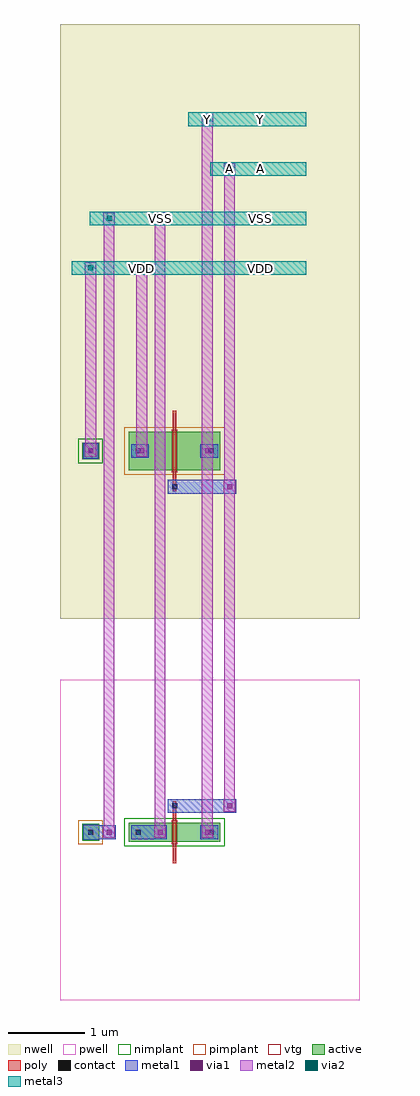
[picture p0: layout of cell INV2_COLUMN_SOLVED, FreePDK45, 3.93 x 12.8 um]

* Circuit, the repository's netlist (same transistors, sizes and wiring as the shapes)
.subckt INV2_COLUMN_SOLVED VDD VSS A Y
M0 Y A VDD VDD PMOS_VTG W=0.5U L=0.05U
M1 Y A VSS VSS NMOS_VTG W=0.25U L=0.05U
.ends INV2_COLUMN_SOLVED
.end

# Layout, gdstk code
import gdstk
lib = gdstk.Library(unit=1e-6, precision=5e-10)
def R(c, l, rs):  # rectangles x0, y0, x1, y1
    for r in rs: c.add(gdstk.rectangle(r[:2], r[2:], *l))
active = (1, 0)
pwell = (2, 0)
nwell = (3, 0)
nimplant = (4, 0)
pimplant = (5, 0)
vtg = (6, 0)
poly = (9, 0)
contact = (10, 0)
metal1 = (11, 0)
via1 = (12, 0)
metal2 = (13, 0)
via2 = (14, 0)
metal3 = (15, 0)

inv2_column_solved = lib.new_cell('INV2_COLUMN_SOLVED')
R(inv2_column_solved, active, [(0.6,1.875,1.8,2.125), (-0.01,1.89,0.21,2.11), (0.6,6.75,1.8,7.25), (-0.01,6.89,0.21,7.11)])
R(inv2_column_solved, pwell, [(-0.3,-0.2,3.63,4)])
R(inv2_column_solved, nwell, [(-0.3,4.8,3.63,12.6)])
R(inv2_column_solved, nimplant, [(0.54,1.815,1.86,2.185), (-0.06,6.84,0.26,7.16)])
R(inv2_column_solved, pimplant, [(-0.06,1.84,0.26,2.16), (0.54,6.69,1.86,7.31)])
R(inv2_column_solved, vtg, [(1.165,1.845,1.235,2.155), (1.165,6.72,1.235,7.28)])
R(inv2_column_solved, poly, [(1.175,1.595,1.225,2.405), (1.175,6.47,1.225,7.53)])
R(inv2_column_solved, contact, [(0.07,1.97,0.135,2.035), (0.69,1.97,0.755,2.035), (1.65,1.97,1.715,2.035), (1.17,2.315,1.235,2.38), (1.17,6.5,1.235,6.565), (0.07,6.97,0.135,7.035), (0.69,6.97,0.755,7.035), (1.65,6.97,1.715,7.035)])
R(inv2_column_solved, metal1, [(0,1.9,0.2,2.1), (0.1,1.91,0.34,2.09), (0.1,1.91,0.34,2.09), (0.25,1.91,0.43,2.09), (0.25,1.91,0.43,2.09), (0.63,1.91,0.81,2.09), (0.77,1.91,1.01,2.09), (0.92,1.91,1.1,2.09), (1.54,1.91,1.72,2.09), (1.59,1.91,1.77,2.09), (1.11,2.255,1.29,2.435), (1.2,2.255,1.92,2.435), (1.83,2.255,2.01,2.435), (1.11,6.44,1.29,6.62), (1.2,6.44,1.92,6.62), (1.83,6.44,2.01,6.62), (0,6.9,0.2,7.1), (0.01,6.91,0.19,7.09), (0.01,6.91,0.19,7.09), (0.63,6.91,0.81,7.09), (0.68,6.91,0.86,7.09), (1.54,6.91,1.72,7.09), (1.59,6.91,1.77,7.09)])
R(inv2_column_solved, via1, [(0.31,1.97,0.375,2.035), (0.31,1.97,0.375,2.035), (0.98,1.97,1.045,2.035), (1.6,1.97,1.665,2.035), (1.89,2.315,1.955,2.38), (1.89,6.5,1.955,6.565), (0.07,6.97,0.135,7.035), (0.07,6.97,0.135,7.035), (0.74,6.97,0.805,7.035), (1.6,6.97,1.665,7.035)])
R(inv2_column_solved, metal2, [(0.265,1.925,0.415,2.075), (0.265,1.925,0.415,2.075), (0.935,1.925,1.085,2.075), (1.555,1.925,1.705,2.075), (0.27,2,0.41,10.05), (0.27,2,0.41,10.05), (0.94,2,1.08,10.05), (1.56,2,1.7,11.35), (1.845,2.27,1.995,2.42), (1.85,2.345,1.99,10.7), (1.845,6.455,1.995,6.605), (1.85,6.53,1.99,10.7), (0.025,6.925,0.175,7.075), (0.025,6.925,0.175,7.075), (0.695,6.925,0.845,7.075), (1.555,6.925,1.705,7.075), (0.03,7,0.17,9.4), (0.03,7,0.17,9.4), (0.7,7,0.84,9.4), (1.56,7,1.7,11.35), (0.025,9.325,0.175,9.475), (0.025,9.325,0.175,9.475), (0.695,9.325,0.845,9.475), (0.265,9.975,0.415,10.125), (0.265,9.975,0.415,10.125), (0.935,9.975,1.085,10.125), (1.845,10.625,1.995,10.775), (1.845,10.625,1.995,10.775), (1.555,11.275,1.705,11.425), (1.555,11.275,1.705,11.425)])
R(inv2_column_solved, via2, [(0.07,9.37,0.135,9.435), (0.07,9.37,0.135,9.435), (0.74,9.37,0.805,9.435), (0.31,10.02,0.375,10.085), (0.31,10.02,0.375,10.085), (0.98,10.02,1.045,10.085), (1.89,10.67,1.955,10.735), (1.89,10.67,1.955,10.735), (1.6,11.32,1.665,11.385), (1.6,11.32,1.665,11.385)])
R(inv2_column_solved, metal3, [(-0.15,9.31,1.02,9.49), (1.02,9.31,2.93,9.49), (0.025,9.325,0.175,9.475), (0.025,9.325,0.175,9.475), (0.695,9.325,0.845,9.475), (0.09,9.96,1.26,10.14), (1.26,9.96,2.93,10.14), (0.265,9.975,0.415,10.125), (0.265,9.975,0.415,10.125), (0.935,9.975,1.085,10.125), (1.67,10.61,2.17,10.79), (2.17,10.61,2.93,10.79), (1.845,10.625,1.995,10.775), (1.845,10.625,1.995,10.775), (1.38,11.26,1.88,11.44), (1.88,11.26,2.93,11.44), (1.555,11.275,1.705,11.425), (1.555,11.275,1.705,11.425)])
inv2_column_solved.add(gdstk.Label('VDD', (2.33,9.4), layer=15, texttype=0))
inv2_column_solved.add(gdstk.Label('VDD', (2.33,9.4), layer=15, texttype=1))
inv2_column_solved.add(gdstk.Label('VDD', (2.33,9.4), layer=15, texttype=2))
inv2_column_solved.add(gdstk.Label('VDD', (0.77,9.4), layer=13, texttype=0))
inv2_column_solved.add(gdstk.Label('VDD', (0.77,9.4), layer=13, texttype=1))
inv2_column_solved.add(gdstk.Label('VDD', (0.77,9.4), layer=13, texttype=2))
inv2_column_solved.add(gdstk.Label('VSS', (2.33,10.05), layer=15, texttype=0))
inv2_column_solved.add(gdstk.Label('VSS', (2.33,10.05), layer=15, texttype=1))
inv2_column_solved.add(gdstk.Label('VSS', (2.33,10.05), layer=15, texttype=2))
inv2_column_solved.add(gdstk.Label('VSS', (1.01,10.05), layer=13, texttype=0))
inv2_column_solved.add(gdstk.Label('VSS', (1.01,10.05), layer=13, texttype=1))
inv2_column_solved.add(gdstk.Label('VSS', (1.01,10.05), layer=13, texttype=2))
inv2_column_solved.add(gdstk.Label('A', (2.33,10.7), layer=15, texttype=0))
inv2_column_solved.add(gdstk.Label('A', (2.33,10.7), layer=15, texttype=1))
inv2_column_solved.add(gdstk.Label('A', (2.33,10.7), layer=15, texttype=2))
inv2_column_solved.add(gdstk.Label('A', (1.92,10.7), layer=13, texttype=0))
inv2_column_solved.add(gdstk.Label('A', (1.92,10.7), layer=13, texttype=1))
inv2_column_solved.add(gdstk.Label('A', (1.92,10.7), layer=13, texttype=2))
inv2_column_solved.add(gdstk.Label('Y', (2.33,11.35), layer=15, texttype=0))
inv2_column_solved.add(gdstk.Label('Y', (2.33,11.35), layer=15, texttype=1))
inv2_column_solved.add(gdstk.Label('Y', (2.33,11.35), layer=15, texttype=2))
inv2_column_solved.add(gdstk.Label('Y', (1.63,11.35), layer=13, texttype=0))
inv2_column_solved.add(gdstk.Label('Y', (1.63,11.35), layer=13, texttype=1))
inv2_column_solved.add(gdstk.Label('Y', (1.63,11.35), layer=13, texttype=2))

lib.write_gds('INV2_COLUMN_SOLVED.gds')
